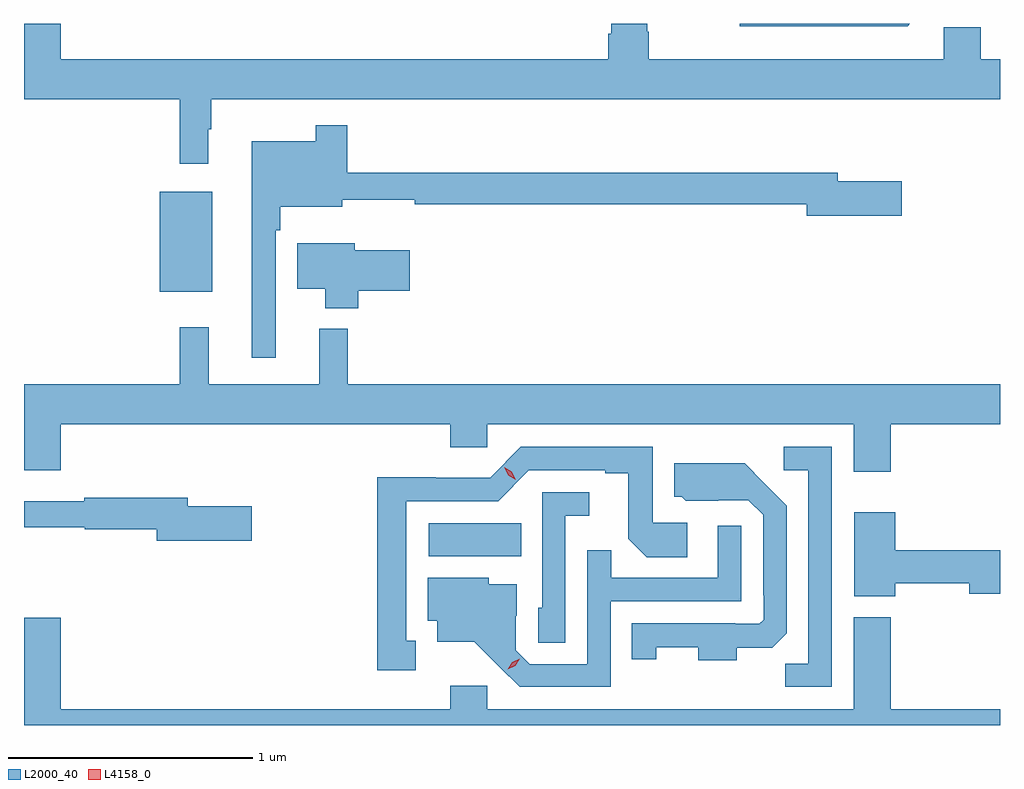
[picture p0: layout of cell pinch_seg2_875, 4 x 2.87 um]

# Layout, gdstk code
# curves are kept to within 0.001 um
import gdstk
lib = gdstk.Library(unit=1e-6, precision=1e-09)
def R(c, l, rs):  # rectangles x0, y0, x1, y1
    for r in rs: c.add(gdstk.rectangle(r[:2], r[2:], *l))
def P(c, l, *ps):  # polygons
    for p in ps: c.add(gdstk.Polygon(p, *l))
L2000_40 = (2000, 40)
L4158_0 = (4158, 0)

pinch_seg2_875 = lib.new_cell('pinch_seg2_875')
R(pinch_seg2_875, L2000_40, [(382.464,584.492,382.844,584.626), (381.362,585.575,381.577,585.985)])
P(pinch_seg2_875, L2000_40, [(384.437,586.673),(383.739,586.673),(383.739,586.664),(384.428,586.664)],
  [(381.562,586.241),(381.574,586.241),(381.574,586.364),(384.806,586.364),(384.806,586.528),(384.728,586.528),(384.728,586.66),(384.576,586.66),(384.576,586.528),(383.366,586.528),(383.366,586.641),(383.361,586.641),(383.361,586.673),(383.213,586.673),(383.213,586.634),(383.201,586.634),(383.201,586.528),(380.956,586.528),(380.956,586.673),(380.806,586.673),(380.806,586.364),(381.445,586.364),(381.445,586.101),(381.562,586.101)],
  [(381.837,585.827),(381.857,585.827),(381.857,585.923),(382.111,585.923),(382.111,585.953),(382.407,585.953),(382.407,585.934),(384.014,585.934),(384.014,585.887),(384.403,585.887),(384.403,586.029),(384.142,586.029),(384.142,586.063),(382.13,586.063),(382.13,586.258),(382.002,586.258),(382.002,586.192),(381.74,586.192),(381.74,585.306),(381.837,585.306)],
  [(382.175,585.58),(382.387,585.58),(382.387,585.745),(382.162,585.745),(382.162,585.775),(381.926,585.775),(381.926,585.587),(382.04,585.587),(382.04,585.509),(382.175,585.509)],
  [(384.359,585.032),(384.806,585.032),(384.806,585.196),(382.133,585.196),(382.133,585.424),(382.016,585.424),(382.016,585.196),(381.563,585.196),(381.563,585.43),(381.445,585.43),(381.445,585.196),(380.806,585.196),(380.806,584.844),(380.956,584.844),(380.956,585.032),(382.553,585.032),(382.553,584.939),(382.704,584.939),(382.704,585.032),(384.206,585.032),(384.206,584.838),(384.359,584.838)],
  [(382.411,584.145),(382.372,584.145),(382.372,584.718),(382.749,584.718),(382.875,584.844),(383.189,584.844),(383.189,584.832),(383.283,584.832),(383.283,584.564),(383.359,584.488),(383.524,584.488),(383.524,584.628),(383.382,584.628),(383.382,584.94),(382.842,584.94),(382.716,584.814),(382.494,584.814),(382.494,584.816),(382.254,584.816),(382.254,584.025),(382.411,584.025)],
  [(384.117,584.94),(383.919,584.94),(383.919,584.844),(384.021,584.844),(384.021,584.051),(383.926,584.051),(383.926,583.956),(384.117,583.956)],
  [(383.728,584.117),(383.872,584.117),(383.931,584.176),(383.931,584.698),(383.759,584.872),(383.471,584.872),(383.471,584.736),(383.502,584.736),(383.518,584.72),(383.775,584.721),(383.835,584.661),(383.835,584.332),(383.838,584.332),(383.838,584.232),(383.82,584.214),(383.72,584.214),(383.72,584.217),(383.296,584.217),(383.296,584.07),(383.397,584.07),(383.397,584.119),(383.57,584.119),(383.57,584.066),(383.728,584.066)],
  [(383.025,584.657),(383.122,584.657),(383.122,584.754),(382.929,584.754),(382.929,584.28),(382.914,584.28),(382.914,584.137),(383.025,584.137)],
  [(381.739,584.697),(381.478,584.697),(381.478,584.731),(381.052,584.731),(381.052,584.718),(380.806,584.718),(380.806,584.61),(381.054,584.61),(381.054,584.602),(381.35,584.602),(381.35,584.555),(381.739,584.555)],
  [(384.376,584.38),(384.68,584.38),(384.68,584.338),(384.806,584.338),(384.806,584.516),(384.376,584.516),(384.376,584.671),(384.209,584.671),(384.209,584.327),(384.376,584.327)],
  [(383.211,584.307),(383.745,584.307),(383.745,584.617),(383.649,584.617),(383.649,584.403),(383.213,584.403),(383.213,584.516),(383.115,584.516),(383.115,584.049),(382.878,584.049),(382.821,584.106),(382.821,584.248),(382.825,584.248),(382.825,584.377),(382.71,584.377),(382.71,584.404),(382.46,584.404),(382.46,584.228),(382.499,584.228),(382.499,584.141),(382.651,584.141),(382.838,583.956),(383.211,583.956)],
  [(384.806,583.864),(384.359,583.864),(384.359,584.242),(384.206,584.242),(384.206,583.864),(382.704,583.864),(382.704,583.96),(382.553,583.96),(382.553,583.864),(380.956,583.864),(380.956,584.239),(380.806,584.239),(380.806,583.8),(384.806,583.8)])
P(pinch_seg2_875, L4158_0, [(382.789,584.029),(382.789,584.029),(382.807,584.058),(382.838,584.072),(382.838,584.072),(382.838,584.072),(382.82,584.043),(382.789,584.029)],
  [(382.822,584.805),(382.791,584.824),(382.774,584.857),(382.774,584.857),(382.774,584.857),(382.805,584.838),(382.822,584.805),(382.822,584.805)])

lib.write_gds('pinch_seg2_875.gds')
